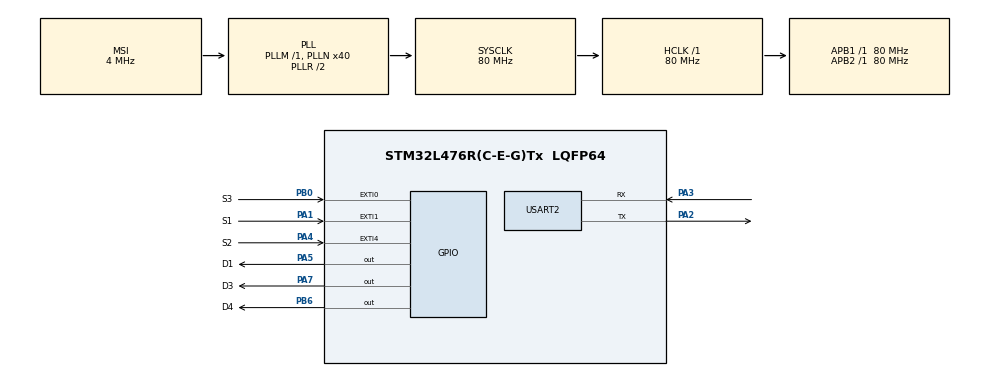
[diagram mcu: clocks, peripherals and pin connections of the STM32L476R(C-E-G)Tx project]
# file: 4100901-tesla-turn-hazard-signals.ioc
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Mcu.Family=STM32L4
Mcu.Name=STM32L476R(C-E-G)Tx
Mcu.Package=LQFP64
NVIC.EXTI0_IRQn=true\:0\:0\:false\:false\:true\:true\:true\:true
NVIC.EXTI1_IRQn=true\:0\:0\:false\:false\:true\:true\:true\:true
NVIC.EXTI4_IRQn=true\:0\:0\:false\:false\:true\:true\:true\:true
NVIC.PriorityGroup=NVIC_PRIORITYGROUP_4
PA1.GPIO_Label=S1
PA1.GPIO_ModeDefaultEXTI=GPIO_MODE_IT_FALLING
PA1.Signal=GPXTI1
PA2.Mode=Asynchronous
PA2.Signal=USART2_TX
PA3.Mode=Asynchronous
PA3.Signal=USART2_RX
PA4.GPIO_Label=S2
PA4.GPIO_ModeDefaultEXTI=GPIO_MODE_IT_FALLING
PA4.Signal=GPXTI4
PA5.GPIO_Label=D1
PA5.PinState=GPIO_PIN_SET
PA5.Signal=GPIO_Output
PA7.GPIO_Label=D3
PA7.PinState=GPIO_PIN_SET
PA7.Signal=GPIO_Output
PB0.GPIO_Label=S3
PB0.GPIO_ModeDefaultEXTI=GPIO_MODE_IT_FALLING
PB0.Signal=GPXTI0
PB6.GPIO_Label=D4
PB6.PinState=GPIO_PIN_SET
PB6.Signal=GPIO_Output
ProjectManager.HeapSize=0x200
ProjectManager.StackSize=0x400
ProjectManager.TargetToolchain=STM32CubeIDE
RCC.ADCFreq_Value=16000000
RCC.AHBFreq_Value=80000000
RCC.APB1Freq_Value=80000000
RCC.APB1TimFreq_Value=80000000
RCC.APB2Freq_Value=80000000
RCC.APB2TimFreq_Value=80000000
RCC.CortexFreq_Value=80000000
RCC.HCLKFreq_Value=80000000
RCC.HSE_VALUE=8000000
RCC.HSI_VALUE=16000000
RCC.LSE_VALUE=32768
RCC.MSI_VALUE=4000000
RCC.PLLN=40
RCC.SYSCLKFreq_VALUE=80000000
RCC.SYSCLKSource=RCC_SYSCLKSOURCE_PLLCLK
RCC.USBFreq_Value=16000000
RCC.VCOOutputFreq_Value=160000000
USART2.VirtualMode-Asynchronous=VM_ASYNC
board=custom

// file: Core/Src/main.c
/* USER CODE BEGIN Header */
/**
  ******************************************************************************
  * @file           : main.c
  * @brief          : Main program body
  ******************************************************************************
  * @attention
  *
  * Copyright (c) 2024 STMicroelectronics.
  * All rights reserved.
  *
  * This software is licensed under terms that can be found in the LICENSE file
  * in the root directory of this software component.
  * If no LICENSE file comes with this software, it is provided AS-IS.
  *
  ******************************************************************************
  */
/* USER CODE END Header */
#include "main.h"

UART_HandleTypeDef huart2;

/* USER CODE BEGIN PV */

// System State Control Variables
uint32_t left_toggles = 0;
uint32_t left_last_press_tick = 0;

uint32_t right_toggles = 0;
uint32_t right_last_press_tick = 0;

uint32_t hazard_toggles = 0;
uint8_t hazard_on = 0;

/* USER CODE END PV */

void SystemClock_Config(void);
static void MX_GPIO_Init(void);
static void MX_USART2_UART_Init(void);

/* USER CODE BEGIN 0 */

// Function that allows attend to system interruptions
void HAL_GPIO_EXTI_Callback(uint16_t GPIO_Pin)
{
	// Check the GPIO that performed the interrupt
	if (GPIO_Pin == S1_Pin) {
		if (right_toggles > 0) { // If the right turn signal was active, it turns off
			HAL_UART_Transmit(&huart2, "Turning off right turn\r\n", 24, 10);
			right_toggles = 0;

		} else if (hazard_toggles > 0) { // If the stationary lights are active, the interruption is ignored
				HAL_UART_Transmit(&huart2, "Hazard light is active\r\n", 24, 10);

		} else {
			right_toggles = 0;
			hazard_toggles = 0;
			HAL_UART_Transmit(&huart2, "Turning Left\r\n", 14, 10);
			if (HAL_GetTick() < (left_last_press_tick + 300)) { // if last press was in the last 300ms
				left_toggles = 0xFFFFFF; // a long time toggling (infinite)
			} else {
				left_toggles = 6; // 3 times toggling
			}
			left_last_press_tick = HAL_GetTick(); // Update ticks
		}

	} else if (GPIO_Pin == S2_Pin) {
		if (left_toggles > 0) { // If the left turn signal was active, it turns off
			HAL_UART_Transmit(&huart2, "Turning off left turn\r\n", 23, 10);
			left_toggles = 0;

		} else if (hazard_toggles > 0) { // If the stationary lights are active, the interruption is ignored
			HAL_UART_Transmit(&huart2, "Hazard light is active\r\n", 24, 10);

		} else {
			left_toggles = 0;
			hazard_toggles = 0;
			HAL_UART_Transmit(&huart2, "Turning Right\r\n", 15, 10);
			if (HAL_GetTick() < (right_last_press_tick + 300)) { // if last press was in the last 300ms
				right_toggles = 0xFFFFFF; // a long time toggling (infinite)
			} else {
				right_toggles = 6; // 3 times toggling
			}
			right_last_press_tick = HAL_GetTick(); // Update ticks
		}

	} else if (GPIO_Pin == S3_Pin) {
		right_toggles = 0;
		left_toggles = 0;
		HAL_UART_Transmit(&huart2, "Hazard Light\r\n", 14, 10);

		// On and off control of stationary lights
		if (hazard_on == 0) {
			hazard_toggles = 0xFFFFFF; // a long time toggling (infinite)
			hazard_on = 1; // Hazard is now active

		} else if (hazard_on == 1) {
			hazard_toggles = 0;
			hazard_on = 0; // Hazard is now inactive
		}
	}
}

// Heartbeat function for system monitoring
void heartbeat(void)
{
	static uint32_t heartbeat_tick = 0;
	if (heartbeat_tick < HAL_GetTick()) { // Toggle every 500ms
		heartbeat_tick = HAL_GetTick() + 500; // "Checkpoint" for the 500ms toggle
		HAL_GPIO_TogglePin(D1_GPIO_Port, D1_Pin);
	}
}

// Left turn signal function
void turn_signal_left(void)
{
	static uint32_t turn_toggle_tick = 0;
	if (turn_toggle_tick < HAL_GetTick()) {
		if (left_toggles > 0) { // Toggles while the turn signal is active
			turn_toggle_tick = HAL_GetTick() + 500;
			HAL_GPIO_TogglePin(D3_GPIO_Port, D3_Pin);
			left_toggles--; // 1 toggle complete

		} else if (hazard_toggles == 0) { // Check that the hazard light is not active and turn off the turn signal
			HAL_GPIO_WritePin(D3_GPIO_Port, D3_Pin, 1);
		}

	}
}

// Right turn signal function
void turn_signal_right(void)
{
	static uint32_t turn_toggle_tick = 0;
	if (turn_toggle_tick < HAL_GetTick()) {
		if (right_toggles > 0) { // Toggles while the turn signal is active
			turn_toggle_tick = HAL_GetTick() + 500;
			HAL_GPIO_TogglePin(D4_GPIO_Port, D4_Pin);
			right_toggles--; // 1 toggle complete

		} else if (hazard_toggles == 0) { // Check that the hazard light is not active and turn off the turn signal
			HAL_GPIO_WritePin(D4_GPIO_Port, D4_Pin, 1);
		}

	}
}

// Hazard lights signal function
void turn_signal_hazard(void)
{
	static uint32_t turn_toggle_tick = 0;
	if (turn_toggle_tick < HAL_GetTick()) { // Toggles both turn signals in 500ms intervals
		if (hazard_toggles > 0) {
			turn_toggle_tick = HAL_GetTick() + 500; // "Checkpoint" for the 500ms toggle
			HAL_GPIO_TogglePin(D3_GPIO_Port, D3_Pin);
			HAL_GPIO_TogglePin(D4_GPIO_Port, D4_Pin);
		}
	}
}

/* USER CODE END 0 */

int main(void)
{

  /* MCU Configuration--------------------------------------------------------*/

  /* Reset of all peripherals, Initializes the Flash interface and the Systick. */
  HAL_Init();

  /* Configure the system clock */
  SystemClock_Config();

  /* Initialize all configured peripherals */
  MX_GPIO_Init();
  MX_USART2_UART_Init();

  /* Infinite loop */
  /* USER CODE BEGIN WHILE */
  while (1)
  {
	 // Activation functions are called infinitely
	 // Activation functions will not work if interrupt conditions are not met
	 heartbeat();
	 turn_signal_left();
	 turn_signal_right();
	 turn_signal_hazard();
    /* USER CODE END WHILE */

  }
}

void SystemClock_Config(void)
{
  RCC_OscInitTypeDef RCC_OscInitStruct = {0};
  RCC_ClkInitTypeDef RCC_ClkInitStruct = {0};

  /** Configure the main internal regulator output voltage
  */
  if (HAL_PWREx_ControlVoltageScaling(PWR_REGULATOR_VOLTAGE_SCALE1) != HAL_OK)
  {
    Error_Handler();
  }

  /** Initializes the RCC Oscillators according to the specified parameters
  * in the RCC_OscInitTypeDef structure.
  */
  RCC_OscInitStruct.OscillatorType = RCC_OSCILLATORTYPE_MSI;
  RCC_OscInitStruct.MSIState = RCC_MSI_ON;
  RCC_OscInitStruct.MSICalibrationValue = 0;
  RCC_OscInitStruct.MSIClockRange = RCC_MSIRANGE_6;
  RCC_OscInitStruct.PLL.PLLState = RCC_PLL_ON;
  RCC_OscInitStruct.PLL.PLLSource = RCC_PLLSOURCE_MSI;
  RCC_OscInitStruct.PLL.PLLM = 1;
  RCC_OscInitStruct.PLL.PLLN = 40;
  RCC_OscInitStruct.PLL.PLLP = RCC_PLLP_DIV7;
  RCC_OscInitStruct.PLL.PLLQ = RCC_PLLQ_DIV2;
  RCC_OscInitStruct.PLL.PLLR = RCC_PLLR_DIV2;
  if (HAL_RCC_OscConfig(&RCC_OscInitStruct) != HAL_OK)
  {
    Error_Handler();
  }

  /** Initializes the CPU, AHB and APB buses clocks
  */
  RCC_ClkInitStruct.ClockType = RCC_CLOCKTYPE_HCLK|RCC_CLOCKTYPE_SYSCLK
                              |RCC_CLOCKTYPE_PCLK1|RCC_CLOCKTYPE_PCLK2;
  RCC_ClkInitStruct.SYSCLKSource = RCC_SYSCLKSOURCE_PLLCLK;
  RCC_ClkInitStruct.AHBCLKDivider = RCC_SYSCLK_DIV1;
  RCC_ClkInitStruct.APB1CLKDivider = RCC_HCLK_DIV1;
  RCC_ClkInitStruct.APB2CLKDivider = RCC_HCLK_DIV1;

  if (HAL_RCC_ClockConfig(&RCC_ClkInitStruct, FLASH_LATENCY_4) != HAL_OK)
  {
    Error_Handler();
  }
}

static void MX_USART2_UART_Init(void)
{

  huart2.Instance = USART2;
  huart2.Init.BaudRate = 115200;
  huart2.Init.WordLength = UART_WORDLENGTH_8B;
  huart2.Init.StopBits = UART_STOPBITS_1;
  huart2.Init.Parity = UART_PARITY_NONE;
  huart2.Init.Mode = UART_MODE_TX_RX;
  huart2.Init.HwFlowCtl = UART_HWCONTROL_NONE;
  huart2.Init.OverSampling = UART_OVERSAMPLING_16;
  huart2.Init.OneBitSampling = UART_ONE_BIT_SAMPLE_DISABLE;
  huart2.AdvancedInit.AdvFeatureInit = UART_ADVFEATURE_NO_INIT;
  if (HAL_UART_Init(&huart2) != HAL_OK)
  {
    Error_Handler();
  }

}

static void MX_GPIO_Init(void)
{
  GPIO_InitTypeDef GPIO_InitStruct = {0};

  /* GPIO Ports Clock Enable */
  __HAL_RCC_GPIOA_CLK_ENABLE();
  __HAL_RCC_GPIOB_CLK_ENABLE();

  /*Configure GPIO pin Output Level */
  HAL_GPIO_WritePin(GPIOA, D1_Pin|D3_Pin, GPIO_PIN_SET);

  /*Configure GPIO pin Output Level */
  HAL_GPIO_WritePin(D4_GPIO_Port, D4_Pin, GPIO_PIN_SET);

  /*Configure GPIO pins : S1_Pin S2_Pin */
  GPIO_InitStruct.Pin = S1_Pin|S2_Pin;
  GPIO_InitStruct.Mode = GPIO_MODE_IT_FALLING;
  GPIO_InitStruct.Pull = GPIO_NOPULL;
  HAL_GPIO_Init(GPIOA, &GPIO_InitStruct);

  /*Configure GPIO pins : D1_Pin D3_Pin */
  GPIO_InitStruct.Pin = D1_Pin|D3_Pin;
  GPIO_InitStruct.Mode = GPIO_MODE_OUTPUT_PP;
  GPIO_InitStruct.Pull = GPIO_NOPULL;
  GPIO_InitStruct.Speed = GPIO_SPEED_FREQ_LOW;
  HAL_GPIO_Init(GPIOA, &GPIO_InitStruct);

  /*Configure GPIO pin : S3_Pin */
  GPIO_InitStruct.Pin = S3_Pin;
  GPIO_InitStruct.Mode = GPIO_MODE_IT_FALLING;
  GPIO_InitStruct.Pull = GPIO_NOPULL;
  HAL_GPIO_Init(S3_GPIO_Port, &GPIO_InitStruct);

  /*Configure GPIO pin : D4_Pin */
  GPIO_InitStruct.Pin = D4_Pin;
  GPIO_InitStruct.Mode = GPIO_MODE_OUTPUT_PP;
  GPIO_InitStruct.Pull = GPIO_NOPULL;
  GPIO_InitStruct.Speed = GPIO_SPEED_FREQ_LOW;
  HAL_GPIO_Init(D4_GPIO_Port, &GPIO_InitStruct);

  /* EXTI interrupt init*/
  HAL_NVIC_SetPriority(EXTI0_IRQn, 0, 0);
  HAL_NVIC_EnableIRQ(EXTI0_IRQn);

  HAL_NVIC_SetPriority(EXTI1_IRQn, 0, 0);
  HAL_NVIC_EnableIRQ(EXTI1_IRQn);

  HAL_NVIC_SetPriority(EXTI4_IRQn, 0, 0);
  HAL_NVIC_EnableIRQ(EXTI4_IRQn);

}

void Error_Handler(void)
{
  __disable_irq();
  while (1)
  {
  }
}
